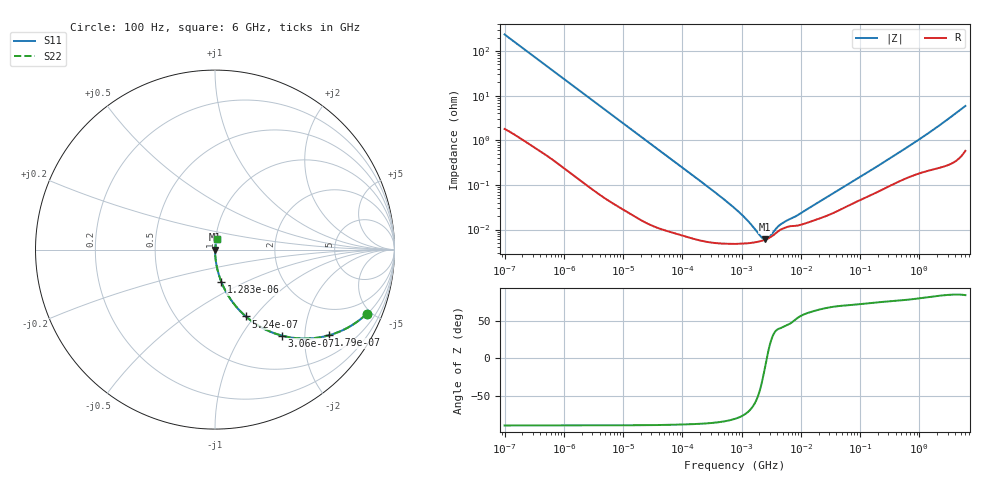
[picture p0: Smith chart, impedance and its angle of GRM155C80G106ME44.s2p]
!Murata Part Number: GRM155C80G106ME44
!These Parameters are Measured in Series Mode Connection
!Data Generated on Mar 30, 2021
!  o--ll--o
!Port1  Port2
!  o------o
!Operation Temp=25[degC], DC Bias Voltage=0[V]
!Freq. Start=100[Hz] Stop=6[GHz] 401[Steps]
# Hz S RI R 50
!Freq.(Hz) S11(Real) S11(Imag) S21(Real) S21(Imag) S12(Real) S12(Imag) S22(Real) S22(Imag)
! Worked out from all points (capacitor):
!   401 points, 100 Hz to 6 GHz, reference 50 ohm
!   read as one part in series: C = 6.77 uF near 109 Hz
!   lowest |Z| = 6.06 mohm at 2.481 MHz (marker M1)
!   series resonance near 2.663 MHz, so ESL is about 530 pH
!   S11 on the Smith chart (normalised r, x): 100 Hz: 1.04, -4.69; 179 Hz: 1.02, -2.63; 306 Hz: 1.01, -1.54; 524 Hz: 1.01, -0.90; 1.283 kHz: 1.00, -0.37; 6 GHz: 1.01, +0.12
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100  0.8444 -0.3587  0.1556 0.3587  0.1556 0.3587  0.8444 -0.3587
131  0.7616 -0.4221  0.2384 0.4221  0.2384 0.4221  0.7616 -0.4221
179  0.6326 -0.4778  0.3674 0.4778  0.3674 0.4778  0.6326 -0.4778
306  0.374 -0.4793  0.626 0.4793  0.626 0.4793  0.374 -0.4793
524  0.1721 -0.3726  0.8279 0.3726  0.8279 0.3726  0.1721 -0.3726
784  0.0864 -0.276  0.9136 0.276  0.9136 0.276  0.0864 -0.276
1283  0.035 -0.1789  0.965 0.1789  0.965 0.1789  0.035 -0.1789
2008  0.0151 -0.1171  0.9849 0.1171  0.9849 0.1171  0.0151 -0.1171
6433  0.0018 -0.0373  0.9982 0.0373  0.9982 0.0373  0.0018 -0.0373
40335  0.000143 -0.00603  0.9999 0.00603  0.9999 0.00603  0.000143 -0.00603
302498  5.2e-05 -0.000807  0.9999 0.000807  0.9999 0.000807  5.2e-05 -0.000807
774597  4.78e-05 -0.000292  1 0.000292  1 0.000292  4.78e-05 -0.000292
1658239  5.16e-05 -9.1e-05  0.9999 9.1e-05  0.9999 9.1e-05  5.16e-05 -9.1e-05
1896632  5.34e-05 -6.4e-05  0.9999 6.4e-05  0.9999 6.4e-05  5.34e-05 -6.4e-05
2481164  5.92e-05 -1.3e-05  0.9999 1.3e-05  0.9999 1.3e-05  5.92e-05 -1.3e-05
3712478  8.11e-05 5.89e-05  0.9999 -5.89e-05  0.9999 -5.89e-05  8.11e-05 5.89e-05
5079039  0.000106 9.63e-05  0.9999 -9.63e-05  0.9999 -9.63e-05  0.000106 9.63e-05
8311524  0.000122 0.000158  0.9999 -0.000158  0.9999 -0.000158  0.000122 0.000158
1.555665e7  0.000155 0.000297  0.9998 -0.000297  0.9998 -0.000297  0.000155 0.000297
3.124326e8  0.000953 0.00376  0.999 -0.00376  0.999 -0.00376  0.000953 0.00376
1.309207e9  0.00219 0.0132  0.9978 -0.0132  0.9978 -0.0132  0.00219 0.0132
6e9  0.00913 0.0577  0.9909 -0.0577  0.9909 -0.0577  0.00913 0.0577
